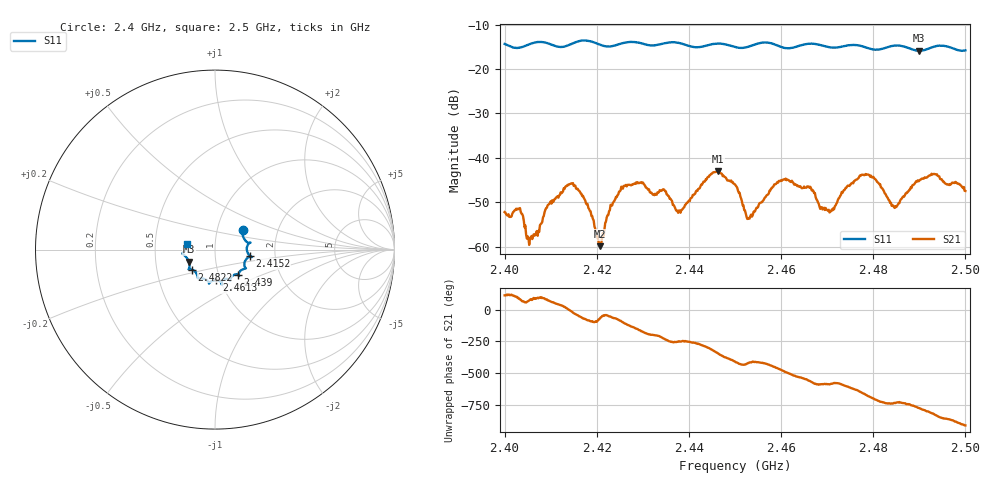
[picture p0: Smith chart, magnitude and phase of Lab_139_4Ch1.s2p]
# Hz S RI R 50
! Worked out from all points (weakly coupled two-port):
!   601 points, 2.4 GHz to 2.5 GHz, reference 50 ohm
!   highest |S21| = -43.06 dB at 2.4463 GHz (marker M1); lowest = -59.9 dB at 2.4207 GHz (marker M2)
!   lowest |S11| = -15.9 dB at 2.4898 GHz (marker M3), VSWR 1.38, Z = 37 - j5.05 ohm
!   |S11| at or under -10 dB: start of sweep to end of sweep
!   S12 and S22 are empty: the file has one direction only
!   S11 on the Smith chart (normalised r, x): 2.4 GHz: 1.33, +0.31; 2.4152 GHz: 1.48, -0.11; 2.439 GHz: 1.24, -0.36; 2.4613 GHz: 0.96, -0.34; 2.4822 GHz: 0.76, -0.17; 2.5 GHz: 0.72, +0.05
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2.4e9  0.1558 0.1112  -0.000952 0.00226  0 0  0 0
2.403333e9  0.1646 0.0565  0.000374 0.00269  0 0  0 0
2.405667e9  0.1887 0.0372  0.000152 0.00124  0 0  0 0
2.4095e9  0.1904 0.0358  0.000862 0.00284  0 0  0 0
2.415167e9  0.1945 -0.0359  0.00418 -0.00246  0 0  0 0
2.416667e9  0.2043 -0.0419  0.00195 -0.00342  0 0  0 0
2.420667e9  0.1823 -0.0453  0.000363 -0.000944  0 0  0 0
2.425833e9  0.1689 -0.1009  -0.00114 -0.00469  0 0  0 0
2.433333e9  0.1327 -0.1328  -0.00364 0.00181  0 0  0 0
2.439e9  0.128 -0.1391  -0.000893 0.00265  0 0  0 0
2.446333e9  0.0849 -0.1737  0.00678 0.00187  0 0  0 0
2.45e9  0.0685 -0.1632  0.00326 -0.0038  0 0  0 0
2.453167e9  0.0378 -0.1761  0.00115 -0.00172  0 0  0 0
2.461333e9  0.00752 -0.1709  -0.00416 -0.0039  0 0  0 0
2.466667e9  -0.0332 -0.1899  -0.00367 0.00222  0 0  0 0
2.470667e9  -0.0497 -0.1678  -0.00167 0.00181  0 0  0 0
2.4775e9  -0.0961 -0.1532  0.00259 0.00591  0 0  0 0
2.482167e9  -0.1281 -0.1116  0.00427 -0.000864  0 0  0 0
2.483333e9  -0.1392 -0.1101  0.00317 -0.00107  0 0  0 0
2.485e9  -0.1469 -0.1103  0.00272 -0.000622  0 0  0 0
2.489833e9  -0.1457 -0.0665  0.00318 -0.00441  0 0  0 0
2.5e9  -0.1585 0.0336  -0.00412 0.000915  0 0  0 0
